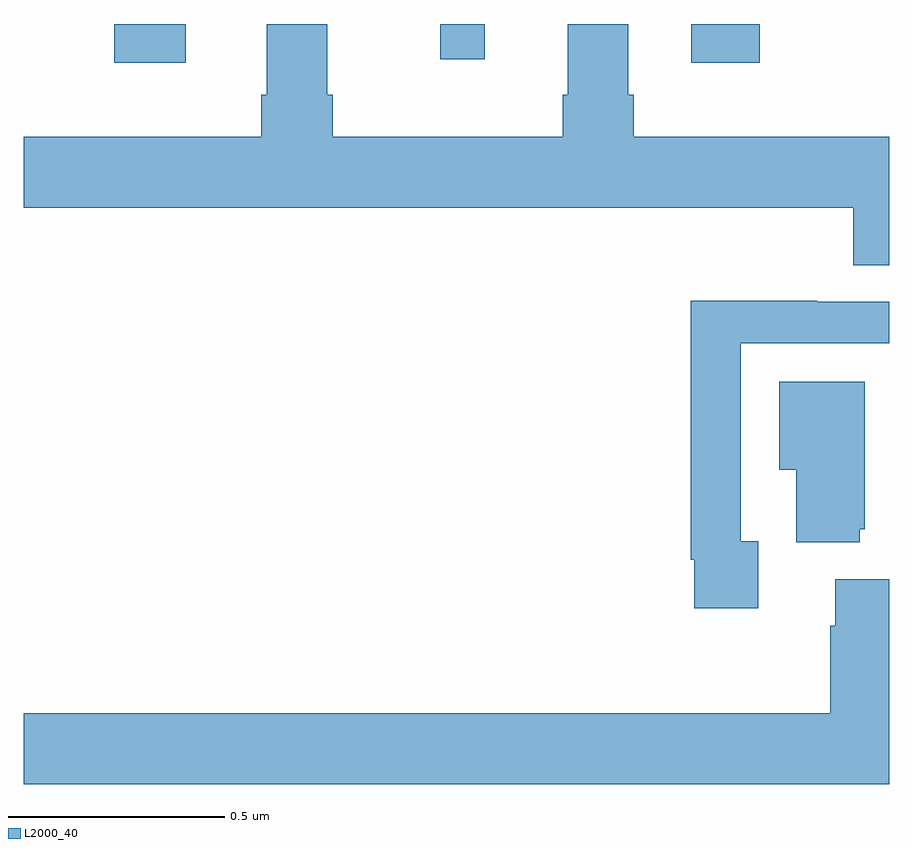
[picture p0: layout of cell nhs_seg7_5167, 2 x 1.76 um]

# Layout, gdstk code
import gdstk
lib = gdstk.Library(unit=1e-6, precision=1e-09)
def R(c, l, rs):  # rectangles x0, y0, x1, y1
    for r in rs: c.add(gdstk.rectangle(r[:2], r[2:], *l))
def P(c, l, *ps):  # polygons
    for p in ps: c.add(gdstk.Polygon(p, *l))
L2000_40 = (2000, 40)

nhs_seg7_5167 = lib.new_cell('nhs_seg7_5167')
R(nhs_seg7_5167, L2000_40, [(182.209,1040.91,182.374,1041), (183.542,1040.91,183.701,1041), (182.962,1040.919,183.065,1041)])
P(nhs_seg7_5167, L2000_40, [(184,1040.74),(183.41,1040.74),(183.41,1040.836),(183.397,1040.836),(183.397,1041),(183.257,1041),(183.257,1040.836),(183.245,1040.836),(183.245,1040.74),(182.714,1040.74),(182.714,1040.836),(182.701,1040.836),(182.701,1041),(182.561,1041),(182.561,1040.836),(182.549,1040.836),(182.549,1040.74),(182,1040.74),(182,1040.576),(183.917,1040.576),(183.917,1040.443),(184,1040.443)],
  [(183.697,1039.805),(183.657,1039.805),(183.657,1040.262),(184,1040.262),(184,1040.358),(183.833,1040.358),(183.833,1040.36),(183.541,1040.36),(183.541,1039.762),(183.549,1039.762),(183.549,1039.65),(183.697,1039.65)],
  [(183.932,1039.833),(183.943,1039.833),(183.943,1040.173),(183.746,1040.173),(183.746,1039.97),(183.785,1039.97),(183.785,1039.802),(183.932,1039.802)],
  [(184,1039.717),(183.875,1039.717),(183.875,1039.61),(183.863,1039.61),(183.863,1039.408),(182,1039.408),(182,1039.244),(184,1039.244)])

lib.write_gds('nhs_seg7_5167.gds')
